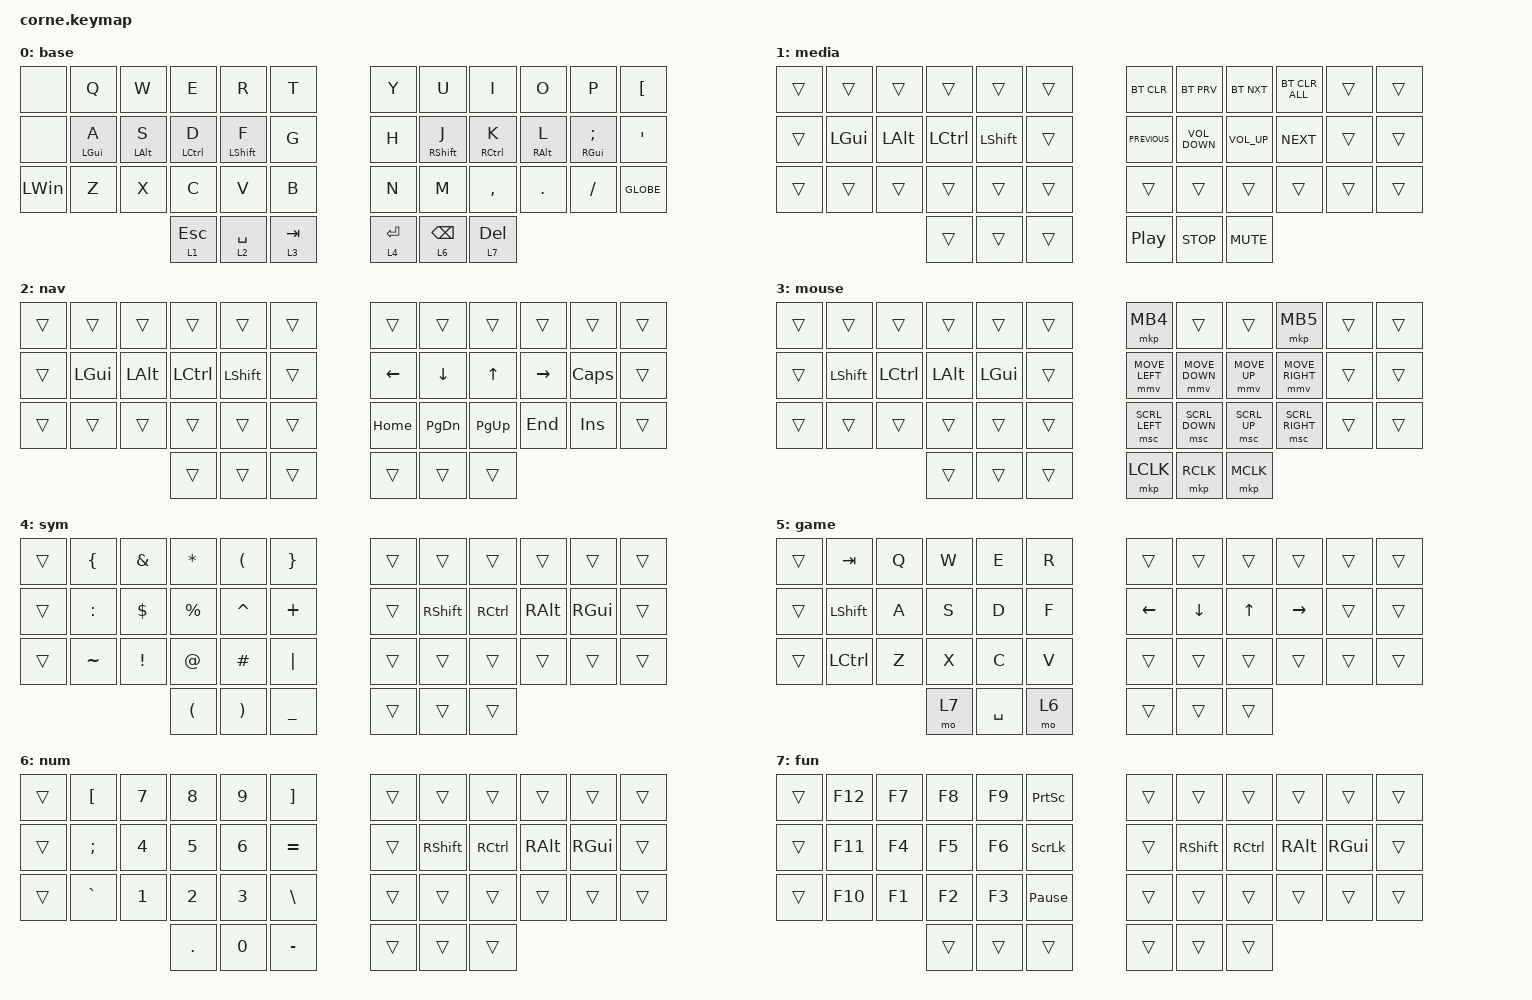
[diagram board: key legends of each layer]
/*
 * Copyright (c) 2020 The ZMK Contributors
 *
 * SPDX-License-Identifier: MIT
 */

#define ZMK_POINTING_DEFAULT_MOVE_VAL 1500  // default: 600
#define ZMK_POINTING_DEFAULT_SCRL_VAL 20    // default: 10

#include <behaviors.dtsi>
#include <dt-bindings/zmk/bt.h>
#include <dt-bindings/zmk/keys.h>
#include <dt-bindings/zmk/pointing.h>

/ {
    combos {
        compatible = "zmk,combos";

        combo_game {
            bindings = <&tog 5>;
            key-positions = <36 41>;
            timeout-ms = <200>;
        };

        game_esc {
            bindings = <&kp ESC>;
            key-positions = <1 2>;
            layers = <5>;
        };
    };

    behaviors {
        hml: hml {
            compatible = "zmk,behavior-hold-tap";
            label = "HML";
            bindings = <&kp>, <&kp>;

            #binding-cells = <2>;
            tapping-term-ms = <220>;
            quick-tap-ms = <175>;
            flavor = "balanced";
            require-prior-idle-ms = <100>;
            hold-trigger-key-positions = <39 40 41 30 18 6 7 9 10 11 18 19 20 21 22 23 30 31 32 33 34 35 40 41 8 36 37 38>;
            hold-trigger-on-release;
        };

        hmr: hmr {
            compatible = "zmk,behavior-hold-tap";
            label = "HMR";
            bindings = <&kp>, <&kp>;

            #binding-cells = <2>;
            tapping-term-ms = <220>;
            quick-tap-ms = <175>;
            require-prior-idle-ms = <100>;
            flavor = "balanced";
            hold-trigger-key-positions = <0 1 2 3 4 5 12 13 14 15 16 17 24 25 26 27 28 29 36 37 38 39 40 41>;
            hold-trigger-on-release;
        };

        tkl: tkl {
            compatible = "zmk,behavior-hold-tap";
            label = "TKL";
            bindings = <&mo>, <&kp>;

            #binding-cells = <2>;
            tapping-term-ms = <220>;
            quick-tap-ms = <175>;
            flavor = "balanced";
            require-prior-idle-ms = <100>;
            hold-trigger-key-positions = <39 40 41 30 18 6 7 9 10 11 18 19 20 21 22 23 30 31 32 33 34 35 40 41 8 38 37 36>;
            hold-trigger-on-release;
        };

        tkr: tkr {
            compatible = "zmk,behavior-hold-tap";
            label = "TKR";
            bindings = <&mo>, <&kp>;

            #binding-cells = <2>;
            tapping-term-ms = <220>;
            quick-tap-ms = <175>;
            require-prior-idle-ms = <100>;
            flavor = "balanced";
            hold-trigger-key-positions = <0 1 2 3 4 5 12 13 14 15 16 17 24 25 26 27 28 29 36 37 38 39 40 41>;
            hold-trigger-on-release;
        };
    };

    keymap {
        compatible = "zmk,keymap";

        base {
            // -----------------------------------------------------------------------------------------
            // |  TAB |  Q  |  W  |  E  |  R  |  T  |   |  Y  |  U   |  I  |  O  |  P  | BKSP |
            // | CTRL |  A  |  S  |  D  |  F  |  G  |   |  H  |  J   |  K  |  L  |  ;  |  '   |
            // | SHFT |  Z  |  X  |  C  |  V  |  B  |   |  N  |  M   |  ,  |  .  |  /  | ESC  |
            //                    | GUI | LWR | SPC |   | ENT | RSE  | ALT |

            bindings = <
&none         &kp Q            &kp W            &kp E                &kp R              &kp T         &kp Y         &kp U               &kp I                 &kp O             &kp P                &kp LBKT
&none         &hml LEFT_GUI A  &hml LEFT_ALT S  &hml LEFT_CONTROL D  &hml LEFT_SHIFT F  &kp G         &kp H         &hmr RIGHT_SHIFT J  &hmr RIGHT_CONTROL K  &hmr RIGHT_ALT L  &hmr RIGHT_GUI SEMI  &kp SINGLE_QUOTE
&kp LEFT_WIN  &kp Z            &kp X            &kp C                &kp V              &kp B         &kp N         &kp M               &kp COMMA             &kp DOT           &kp FSLH             &kp GLOBE
                                                &tkl 1 ESCAPE        &tkl 2 SPACE       &tkl 3 TAB    &tkr 4 ENTER  &tkr 6 BACKSPACE    &tkr 7 DELETE
            >;
        };

        media {
            bindings = <
&trans  &trans        &trans        &trans            &trans          &trans    &bt BT_CLR        &bt BT_PRV         &bt BT_NXT       &bt BT_CLR_ALL  &trans  &trans
&trans  &kp LEFT_GUI  &kp LEFT_ALT  &kp LEFT_CONTROL  &kp LEFT_SHIFT  &trans    &kp C_PREVIOUS    &kp C_VOLUME_DOWN  &kp C_VOLUME_UP  &kp C_NEXT      &trans  &trans
&trans  &trans        &trans        &trans            &trans          &trans    &trans            &trans             &trans           &trans          &trans  &trans
                                    &trans            &trans          &trans    &kp C_PLAY_PAUSE  &kp C_STOP         &kp C_MUTE
            >;
        };

        nav {
            bindings = <
&trans  &trans        &trans        &trans            &trans          &trans    &trans          &trans          &trans        &trans     &trans        &trans
&trans  &kp LEFT_GUI  &kp LEFT_ALT  &kp LEFT_CONTROL  &kp LEFT_SHIFT  &trans    &kp LEFT_ARROW  &kp DOWN_ARROW  &kp UP_ARROW  &kp RIGHT  &kp CAPSLOCK  &trans
&trans  &trans        &trans        &trans            &trans          &trans    &kp HOME        &kp PAGE_DOWN   &kp PAGE_UP   &kp END    &kp INSERT    &trans
                                    &trans            &trans          &trans    &trans          &trans          &trans
            >;
        };

        mouse {
            bindings = <
&trans  &trans          &trans            &trans        &trans        &trans    &mkp MB4        &trans          &trans        &mkp MB5         &trans  &trans
&trans  &kp LEFT_SHIFT  &kp LEFT_CONTROL  &kp LEFT_ALT  &kp LEFT_GUI  &trans    &mmv MOVE_LEFT  &mmv MOVE_DOWN  &mmv MOVE_UP  &mmv MOVE_RIGHT  &trans  &trans
&trans  &trans          &trans            &trans        &trans        &trans    &msc SCRL_LEFT  &msc SCRL_DOWN  &msc SCRL_UP  &msc SCRL_RIGHT  &trans  &trans
                                          &trans        &trans        &trans    &mkp LCLK       &mkp RCLK       &mkp MCLK
            >;
        };

        sym {
            // -----------------------------------------------------------------------------------------
            // |  TAB |  1  |  2  |  3  |  4  |  5  |   |  6  |  7  |  8  |  9  |  0  | BKSP |
            // | BTCLR| BT1 | BT2 | BT3 | BT4 | BT5 |   | LFT | DWN |  UP | RGT |     |      |
            // | SHFT |     |     |     |     |     |   |     |     |     |     |     |      |
            //                    | GUI |     | SPC |   | ENT |     | ALT |

            bindings = <
&trans  &kp LEFT_BRACE  &kp AMPERSAND    &kp ASTERISK          &kp LEFT_PARENTHESIS   &kp RIGHT_BRACE    &trans  &trans           &trans             &trans         &trans         &trans
&trans  &kp COLON       &kp DOLLAR       &kp PERCENT           &kp CARET              &kp PLUS           &trans  &kp RIGHT_SHIFT  &kp RIGHT_CONTROL  &kp RIGHT_ALT  &kp RIGHT_GUI  &trans
&trans  &kp TILDE       &kp EXCLAMATION  &kp AT                &kp HASH               &kp PIPE           &trans  &trans           &trans             &trans         &trans         &trans
                                         &kp LEFT_PARENTHESIS  &kp RIGHT_PARENTHESIS  &kp UNDER          &trans  &trans           &trans
            >;
        };

        game {
            bindings = <
&trans  &kp TAB           &kp Q  &kp W  &kp E      &kp R    &trans    &trans          &trans        &trans           &trans  &trans
&trans  &kp LEFT_SHIFT    &kp A  &kp S  &kp D      &kp F    &kp LEFT  &kp DOWN_ARROW  &kp UP_ARROW  &kp RIGHT_ARROW  &trans  &trans
&trans  &kp LEFT_CONTROL  &kp Z  &kp X  &kp C      &kp V    &trans    &trans          &trans        &trans           &trans  &trans
                                 &mo 7  &kp SPACE  &mo 6    &trans    &trans          &trans
            >;
        };

        num {
            bindings = <
&trans  &kp LBKT   &kp N7  &kp N8   &kp N9  &kp RBKT     &trans  &trans           &trans             &trans         &trans         &trans
&trans  &kp SEMI   &kp N4  &kp N5   &kp N6  &kp EQUAL    &trans  &kp RIGHT_SHIFT  &kp RIGHT_CONTROL  &kp RIGHT_ALT  &kp RIGHT_GUI  &trans
&trans  &kp GRAVE  &kp N1  &kp N2   &kp N3  &kp BSLH     &trans  &trans           &trans             &trans         &trans         &trans
                           &kp DOT  &kp N0  &kp MINUS    &trans  &trans           &trans
            >;
        };

        fun {
            bindings = <
&trans  &kp F12  &kp F7  &kp F8  &kp F9  &kp PRINTSCREEN    &trans  &trans           &trans             &trans         &trans         &trans
&trans  &kp F11  &kp F4  &kp F5  &kp F6  &kp SCROLLLOCK     &trans  &kp RIGHT_SHIFT  &kp RIGHT_CONTROL  &kp RIGHT_ALT  &kp RIGHT_GUI  &trans
&trans  &kp F10  &kp F1  &kp F2  &kp F3  &kp PAUSE_BREAK    &trans  &trans           &trans             &trans         &trans         &trans
                         &trans  &trans  &trans             &trans  &trans           &trans
            >;
        };
    };
};
